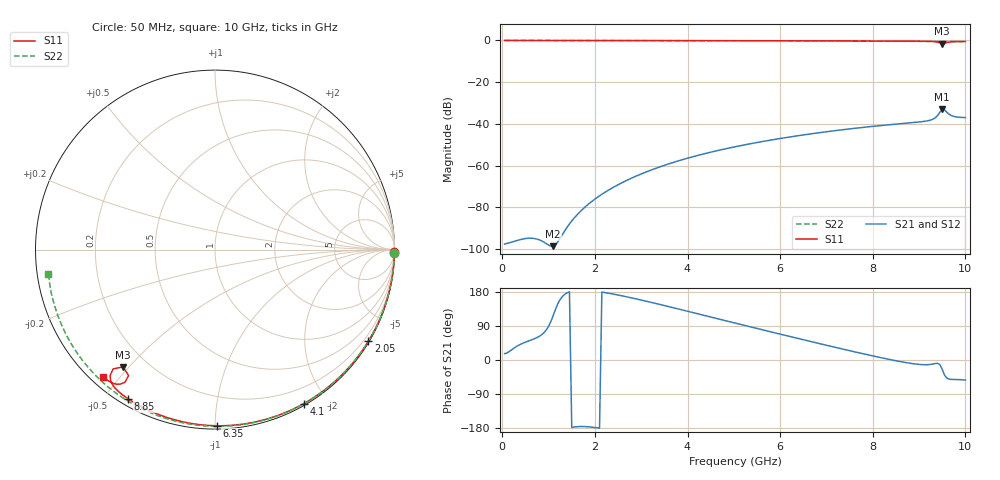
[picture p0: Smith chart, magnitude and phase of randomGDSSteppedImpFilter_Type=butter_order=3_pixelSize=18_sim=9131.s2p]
! freq	dB(S11)	phase(S11)	dB(S12)	phase(S12)
!  dB(S21)	phase(S21)	dB(S22)	phase(S22)
!S-par simulation data
#  GHz  S  DB  R 50
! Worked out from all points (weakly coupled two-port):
!   200 points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, 50 MHz to 10 GHz, reference 50 ohm
!   highest |S21| = -32.98 dB at 9.5 GHz (marker M1); lowest = -98.6 dB at 1.1 GHz (marker M2)
!   lowest |S11| = -1.6 dB at 9.5 GHz (marker M3), VSWR 10.79, Z = 5.72 - j24.1 ohm
!   |S11| at or under -10 dB: nowhere
!   |S22| runs from -0.6 to 0.0 dB; largest |S21 - S12| = 0
!   S11 on the Smith chart (normalised r, x): 50 MHz: open; 2.05 GHz: 0.03, -3.63; 4.1 GHz: 0.02, -1.73; 6.35 GHz: 0.02, -1.01; 8.85 GHz: 0.03, -0.57; 10 GHz: 0.03, -0.45
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0.05  -0.00 -0.8  -97.61 16.9  -97.61 16.9  -0.00 -1.0
1.1  -0.02 -16.7  -98.63 117.6  -98.63 117.6  -0.03 -21.9
1.75  -0.03 -26.4  -80.61 -175.6  -80.61 -175.6  -0.04 -34.6
1.8  -0.03 -27.1  -79.61 -175.8  -79.61 -175.8  -0.05 -35.5
2.05  -0.04 -30.8  -75.25 -178.9  -75.25 -178.9  -0.05 -40.3
2.65  -0.05 -39.6  -67.47 167.7  -67.47 167.7  -0.07 -51.6
3.4  -0.07 -50.3  -60.62 146.7  -60.62 146.7  -0.09 -65.3
4.1  -0.08 -60.0  -55.83 125.6  -55.83 125.6  -0.11 -77.7
5.05  -0.11 -72.8  -50.86 96.8  -50.86 96.8  -0.14 -93.8
6.35  -0.16 -89.5  -45.79 57.9  -45.79 57.9  -0.21 -114.8
6.7  -0.18 -93.9  -44.66 47.6  -44.66 47.6  -0.23 -120.3
7.55  -0.23 -104.3  -42.27 23.2  -42.27 23.2  -0.30 -133.5
8.35  -0.29 -114.0  -40.42 1.7  -40.42 1.7  -0.37 -145.8
8.85  -0.34 -120.2  -39.41 -9.4  -39.41 -9.4  -0.42 -153.5
9.3  -0.50 -127.3  -37.74 -10.6  -37.74 -10.6  -0.48 -160.6
9.4  -0.78 -129.8  -35.98 -8.8  -35.98 -8.8  -0.49 -162.1
9.45  -1.17 -130.5  -34.37 -12.3  -34.37 -12.3  -0.49 -162.9
9.5  -1.61 -128.1  -32.98 -24.6  -32.98 -24.6  -0.49 -163.7
9.55  -1.40 -124.4  -33.26 -39.9  -33.26 -39.9  -0.50 -164.5
9.65  -0.75 -125.2  -35.40 -50.5  -35.40 -50.5  -0.51 -166.1
9.8  -0.54 -128.2  -36.66 -51.4  -36.66 -51.4  -0.53 -168.5
10  -0.49 -131.3  -36.96 -53.0  -36.96 -53.0  -0.56 -171.7
